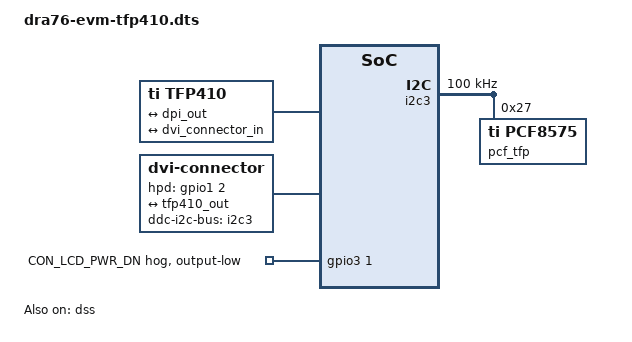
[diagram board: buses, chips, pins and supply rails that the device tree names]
/*
 * Copyright (C) 2017 Texas Instruments Incorporated - http://www.ti.com/
 *
 * This program is free software; you can redistribute it and/or modify
 * it under the terms of the GNU General Public License version 2 as
 * published by the Free Software Foundation.
 */
#include <dra76-evm.dts>

/ {
	tfp410: encoder@0 {
		compatible = "ti,tfp410";

		ports {
			#address-cells = <1>;
			#size-cells = <0>;

			port@0 {
				reg = <0>;
				tfp410_in: endpoint@0 {
					remote-endpoint = <&dpi_out>;
				};
			};

			port@1 {
				reg = <1>;

				tfp410_out: endpoint@0 {
					remote-endpoint = <&dvi_connector_in>;
				};
			};
		};
	};

	dvi0: connector@0 {
		compatible = "dvi-connector";
		label = "dvi";

		digital;

		ddc-i2c-bus = <&i2c3>;

		hpd-gpios = <&gpio1 2 GPIO_ACTIVE_HIGH>;	/* wakeup2/sys_nirq2/gpio1_2 HPD */

		port {
			dvi_connector_in: endpoint {
				remote-endpoint = <&tfp410_out>;
			};
		};
	};
};

&dss {
	status = "ok";
	ports {
		#address-cells = <1>;
		#size-cells = <0>;
		status = "ok";

		port {
			reg = <0>;

			dpi_out: endpoint {
				remote-endpoint = <&tfp410_in>;
				data-lines = <24>;
			};
		};
	};
};

&gpio3 {
	p1 {
		/* GPIO3_1 CON_LCD_PWR_DN */
		/* This affects the TFP410 and the USB */
		gpio-hog;
		gpios = <1 GPIO_ACTIVE_HIGH>;
		output-low;
		line-name = "CON_LCD_PWR_DN";
	};
};

&i2c3 {
	clock-frequency = <100000>;

	pcf_tfp: pcf8757@20 {
		compatible = "ti,pcf8575", "nxp,pcf8575";
		reg = <0x27>;
		gpio-controller;
		#gpio-cells = <2>;

		p2 {
			gpio-hog;
			gpios = <2 GPIO_ACTIVE_HIGH>;
			output-high;
			line-name = "ct_hpd";
		};

		p3 {
			gpio-hog;
			gpios = <3 GPIO_ACTIVE_HIGH>;
			output-high;
			line-name = "ls_oe";
		};
	};
};
